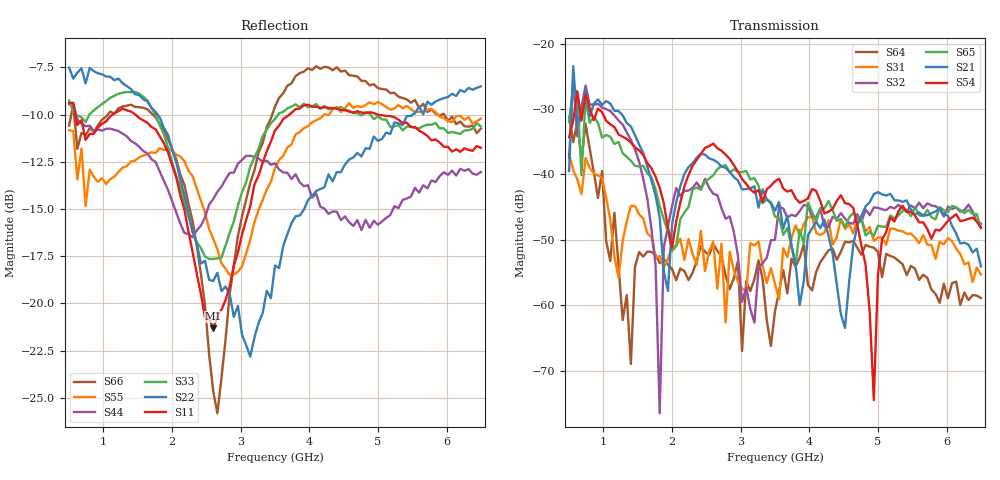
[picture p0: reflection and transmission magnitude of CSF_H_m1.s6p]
!Keysight Technologies,M9804A,MY58100912,A.14.10.03
!Date: Thursday, April 27, 2023 10:28:33
!Correction: S11(C  6-Port  )
!S12(C  6-Port  )
!S13(C  6-Port  )
!S14(C  6-Port  )
!S15(C  6-Port  )
!S16(C  6-Port  )
!S21(C  6-Port  )
!S22(C  6-Port  )
!S23(C  6-Port  )
!S24(C  6-Port  )
!S25(C  6-Port  )
!S26(C  6-Port  )
!S31(C  6-Port  )
!S32(C  6-Port  )
!S33(C  6-Port  )
!S34(C  6-Port  )
!S35(C  6-Port  )
!S36(C  6-Port  )
!S41(C  6-Port  )
!S42(C  6-Port  )
!S43(C  6-Port  )
!S44(C  6-Port  )
!S45(C  6-Port  )
!S46(C  6-Port  )
!S51(C  6-Port  )
!S52(C  6-Port  )
!S53(C  6-Port  )
!S54(C  6-Port  )
!S55(C  6-Port  )
!S56(C  6-Port  )
!S61(C  6-Port  )
!S62(C  6-Port  )
!S63(C  6-Port  )
!S64(C  6-Port  )
!S65(C  6-Port  )
!S66(C  6-Port  )
!S6P File: Measurement: :
# Hz S  RI  R 50
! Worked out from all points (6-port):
!   101 points, 500 MHz to 6.5 GHz, reference 50 ohm
!   strongest paths, dB at 500 MHz, 2 GHz, 3.5 GHz, 5 GHz, 6.5 GHz:
!     S54: -34.3, -51.2, -41.1, -55.4, -48.2
!     S21: -39.5, -47.6, -45.5, -42.7, -54.1
!     S65: -31.9, -51.7, -46.5, -47.8, -48.2
!     S32: -37.5, -44.8, -50.0, -45.1, -47.5
!     S31: -36.9, -51.0, -56.8, -49.6, -55.3
!     S64: -31.2, -54.5, -60.9, -51.8, -58.9
!   lowest |S11| = -21.3 dB at 2.6 GHz (marker M1), VSWR 1.19, Z = 42.4 + j2.3 ohm
!   |S11| at or under -10 dB: 592 MHz to 1.136 GHz (543.7 MHz wide, 62.9 % of centre); 1.465 GHz to 3.711 GHz (2.245 GHz wide, 86.8 % of centre); 4.993 GHz to end of sweep
